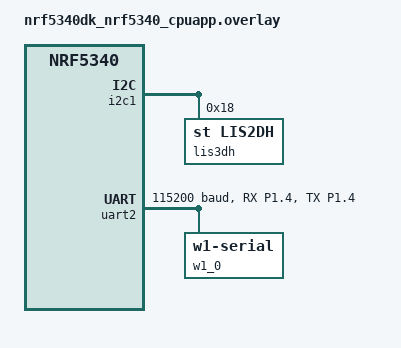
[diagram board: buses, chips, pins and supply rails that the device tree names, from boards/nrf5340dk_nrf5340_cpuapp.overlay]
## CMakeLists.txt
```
cmake_minimum_required(VERSION 3.20.0)

find_package(Zephyr REQUIRED HINTS $ENV{ZEPHYR_BASE})
project(evm_bt40_firmware)

target_sources(app PRIVATE
    src/main.c
    src/ble.c
    src/ble_pet_collar_service.c
    src/sensors.c
    src/led.c
    src/power.c
)

target_include_directories(app PRIVATE include)
```

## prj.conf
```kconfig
# BLE
CONFIG_BT=y
CONFIG_BT_PERIPHERAL=y
CONFIG_BT_DEVICE_NAME="PetCollar-X1"
CONFIG_BT_DEVICE_APPEARANCE=833
CONFIG_BT_DIS=y
CONFIG_BT_DIS_PNP=n
CONFIG_BT_DIS_MODEL="PetCollar-X1"
CONFIG_BT_DIS_MANUF="PetCollar"
CONFIG_BT_BAS=y
CONFIG_BT_GATT_CLIENT=y  # required for bt_gatt_exchange_mtu (MTU negotiation)
CONFIG_BT_MAX_CONN=1
CONFIG_BT_L2CAP_TX_MTU=247
CONFIG_BT_BUF_ACL_TX_SIZE=251
CONFIG_BT_BUF_ACL_RX_SIZE=251
CONFIG_BT_BUF_ACL_TX_COUNT=6
CONFIG_BT_USER_PHY_UPDATE=y
CONFIG_BT_DIS_FW_REV=y
CONFIG_BT_DIS_FW_REV_STR="0.1.0-dev"
CONFIG_BT_DIS_HW_REV=y
CONFIG_BT_DIS_HW_REV_STR="rev-A"

# Logging
CONFIG_LOG=y
CONFIG_LOG_DEFAULT_LEVEL=3
CONFIG_LOG_BACKEND_UART=y

# Sensors
CONFIG_I2C=y
CONFIG_SENSOR=y
CONFIG_LIS2DH=y
CONFIG_LIS2DH_TRIGGER_NONE=y
CONFIG_W1=y
CONFIG_DS18B20=y
CONFIG_CBPRINTF_FP_SUPPORT=y

# System
CONFIG_SYSTEM_WORKQUEUE_STACK_SIZE=4096
CONFIG_MAIN_STACK_SIZE=4096
```

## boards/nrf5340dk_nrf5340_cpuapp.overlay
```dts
/ {
	chosen {
		zephyr,console = &uart0;
	};
};

/* ─── I²C1 (TWIM1)：LIS3DH 加速度計 (SDA=P1.02/D14, SCL=P1.03/D15) ─── */
/* pinctrl-0/1 在 nrf5340_cpuapp_common-pinctrl.dtsi 已設好，直接 enable */
&i2c1 {
	status = "okay";

	lis3dh: lis3dh@18 {
		compatible = "st,lis2dh";
		reg = <0x18>;
		status = "okay";
	};
};

/* ─── UART2 (UARTE2)：DS18B20 1-Wire 溫度計 (Data=P1.04/D2) ─────── */
/* TWIM1 和 UARTE1 共用 peripheral instance 1，故改用 UARTE2 (instance 2) */
/* TX+RX 都接 P1.04，形成半雙工單線 1-Wire；TX 設 open-drain (H0D1)       */
&pinctrl {
	uart2_default: uart2_default {
		group1 {
			/* RX on P1.04: 讀取 DS18B20 回應 */
			psels = <NRF_PSEL(UART_RX, 1, 4)>;
			bias-pull-up;
		};
		group2 {
			/* TX on P1.04: 傳送 1-Wire 時序，open-drain（H0D1）*/
			psels = <NRF_PSEL(UART_TX, 1, 4)>;
			nordic,drive-mode = <NRF_DRIVE_H0D1>;
		};
	};
	uart2_sleep: uart2_sleep {
		group1 {
			psels = <NRF_PSEL(UART_RX, 1, 4)>,
				<NRF_PSEL(UART_TX, 1, 4)>;
			low-power-enable;
		};
	};
};

&uart2 {
	status = "okay";
	pinctrl-0 = <&uart2_default>;
	pinctrl-1 = <&uart2_sleep>;
	pinctrl-names = "default", "sleep";
	current-speed = <115200>;

	w1_0: w1-zephyr-serial-0 {
		compatible = "zephyr,w1-serial";
		#address-cells = <1>;
		#size-cells = <0>;
		status = "okay";

		ds18b20: ds18b20_0 {
			compatible = "maxim,ds18b20";
			family-code = <0x28>;
			resolution = <12>;
			status = "okay";
		};
	};
};
```

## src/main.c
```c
#include <zephyr/kernel.h>
#include <zephyr/logging/log.h>
#include "ble.h"
#include "ble_pet_collar_service.h"
#include "sensors.h"

LOG_MODULE_REGISTER(main, LOG_LEVEL_INF);

/* Stub location — Taipei (no GNSS on collar, filled by phone app) */
static const struct ble_location_t stub_location = {
	.lat_e7      = 250330000,
	.lon_e7      = 1215654000,
	.alt_m       = 10,
	.accuracy_cm = 150,
	.timestamp   = 1719187200,
	.fix_type    = 2,
	.mode        = 1,
};

/* Delayed work items */
static struct k_work_delayable health_work;
static struct k_work_delayable location_work;
static struct k_work_delayable status_work;
static struct k_work_delayable behavior_work;

/* Track runtime for status uptime field */
static uint32_t boot_tick;

static void health_work_fn(struct k_work *work)
{
	struct ble_health_t health = {0};
	/* blocks ~750 ms for DS18B20 12-bit conversion — acceptable at 30s interval */
	sensors_get_health(&health);

	int err = ble_pcs_notify_health(&health);
	if (err && err != -ENOTCONN) {
		LOG_WRN("health notify err: %d", err);
	}
	k_work_reschedule(&health_work, K_SECONDS(30));
}

static void location_work_fn(struct k_work *work)
{
	int err = ble_pcs_notify_location(&stub_location);
	if (err && err != -ENOTCONN) {
		LOG_WRN("location notify err: %d", err);
	}
	k_work_reschedule(&location_work, K_SECONDS(30));
}

static void status_work_fn(struct k_work *work)
{
	uint32_t uptime_s = (k_uptime_get_32() - boot_tick) / 1000;
	struct ble_status_t status = {
		.state       = STATE_CONNECTED,
		.battery_pct = 85,  /* stub — no fuel gauge in PoC */
		.rssi        = 0,
		.uptime      = {
			(uint8_t)(uptime_s & 0xFF),
			(uint8_t)((uptime_s >> 8) & 0xFF),
			(uint8_t)((uptime_s >> 16) & 0xFF),
		},
	};

	int err = ble_pcs_notify_status(&status);
	if (err && err != -ENOTCONN) {
		LOG_WRN("status notify err: %d", err);
	}
	k_work_reschedule(&status_work, K_SECONDS(5));
}

static void behavior_work_fn(struct k_work *work)
{
	struct ble_behavior_t behavior = {0};
	sensors_get_behavior(&behavior);

	int err = ble_pcs_notify_behavior(&behavior);
	if (err && err != -ENOTCONN) {
		LOG_WRN("behavior notify err: %d", err);
	}
	k_work_reschedule(&behavior_work, K_SECONDS(5));
}

int main(void)
{
	LOG_INF("PetCollar-X1 booting...");
	boot_tick = k_uptime_get_32();

	int err = ble_init();
	if (err) {
		LOG_ERR("ble_init failed: %d", err);
		return err;
	}

	err = ble_pcs_init();
	if (err) {
		LOG_ERR("ble_pcs_init failed: %d", err);
		return err;
	}

	/* Sensor init — non-fatal: BLE still works even if sensors fail */
	err = sensors_init();
	if (err) {
		LOG_WRN("sensors_init: %d (BLE running, sensor data unavailable)", err);
	}

	ble_start_advertising();

	k_work_init_delayable(&health_work,   health_work_fn);
	k_work_init_delayable(&location_work, location_work_fn);
	k_work_init_delayable(&status_work,   status_work_fn);
	k_work_init_delayable(&behavior_work, behavior_work_fn);

	k_work_reschedule(&health_work,   K_SECONDS(5));
	k_work_reschedule(&location_work, K_SECONDS(5));
	k_work_reschedule(&status_work,   K_SECONDS(5));
	k_work_reschedule(&behavior_work, K_SECONDS(5));

	LOG_INF("PetCollar-X1 ready");
	return 0;
}
```

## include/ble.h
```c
#pragma once

#include <stdbool.h>

int  ble_init(void);
void ble_start_advertising(void);
bool ble_is_connected(void);
```

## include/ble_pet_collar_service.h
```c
#pragma once

#include <zephyr/bluetooth/bluetooth.h>
#include <zephyr/bluetooth/gatt.h>
#include <stdint.h>

/* Pet Collar Service — Custom 128-bit UUIDs
 * Base: A1B2C3D4-xxxx-1000-8000-00805F9B34FB
 * xxxx varies per characteristic (see spec §4.6)
 */
#define PCS_UUID_ENCODE(xxxx) \
    BT_UUID_128_ENCODE(0xA1B2C3D4, (xxxx), 0x1000, 0x8000, 0x00805F9B34FB)

#define PCS_UUID_SERVICE_VAL   PCS_UUID_ENCODE(0x0000)
#define PCS_UUID_LOCATION_VAL  PCS_UUID_ENCODE(0x0101)
#define PCS_UUID_HEALTH_VAL    PCS_UUID_ENCODE(0x0102)
#define PCS_UUID_BEHAVIOR_VAL  PCS_UUID_ENCODE(0x0103)
#define PCS_UUID_COMMAND_VAL   PCS_UUID_ENCODE(0x0104)
#define PCS_UUID_STATUS_VAL    PCS_UUID_ENCODE(0x0105)
#define PCS_UUID_CONFIG_VAL    PCS_UUID_ENCODE(0x0106)

#define PCS_UUID_SERVICE   BT_UUID_DECLARE_128(PCS_UUID_SERVICE_VAL)
#define PCS_UUID_LOCATION  BT_UUID_DECLARE_128(PCS_UUID_LOCATION_VAL)
#define PCS_UUID_HEALTH    BT_UUID_DECLARE_128(PCS_UUID_HEALTH_VAL)
#define PCS_UUID_BEHAVIOR  BT_UUID_DECLARE_128(PCS_UUID_BEHAVIOR_VAL)
#define PCS_UUID_COMMAND   BT_UUID_DECLARE_128(PCS_UUID_COMMAND_VAL)
#define PCS_UUID_STATUS    BT_UUID_DECLARE_128(PCS_UUID_STATUS_VAL)
#define PCS_UUID_CONFIG    BT_UUID_DECLARE_128(PCS_UUID_CONFIG_VAL)

/* Behavior enum — matches spec §4.5 */
enum behavior_type {
    BEHAVIOR_SLEEPING   = 0,
    BEHAVIOR_RESTING    = 1,
    BEHAVIOR_WALKING    = 2,
    BEHAVIOR_RUNNING    = 3,
    BEHAVIOR_PLAYING    = 4,
    BEHAVIOR_SCRATCHING = 5,
    BEHAVIOR_UNKNOWN    = 6,
};

/* Command enum — matches spec §4.6 */
enum pcs_command {
    CMD_FIND_MODE_ON  = 0x01,
    CMD_FIND_MODE_OFF = 0x02,
    CMD_SYNC_TIME     = 0x03,
    CMD_SET_CONFIG    = 0x04,
    CMD_REBOOT        = 0x05,  /* stub: log only, no reboot */
    CMD_DFU_MODE      = 0x06,  /* stub: log only, no DFU */
};

/* 18 bytes — Location characteristic payload */
struct ble_location_t {
    int32_t  lat_e7;        /* latitude  × 10^7 */
    int32_t  lon_e7;        /* longitude × 10^7 */
    int16_t  alt_m;
    uint16_t accuracy_cm;
    uint32_t timestamp;
    uint8_t  fix_type;      /* 0=invalid 1=2D 2=3D 3=GNSS+assisted */
    uint8_t  mode;          /* 0=power-save 1=normal 2=high-freq */
} __packed;

/* 8 bytes — Health characteristic payload */
struct ble_health_t {
    uint16_t heart_rate;    /* BPM × 10 */
    uint8_t  spo2;          /* % 0-100 */
    int16_t  temperature;   /* 0.1°C  e.g. 385 = 38.5°C */
    uint8_t  signal_quality;
    uint16_t flags;         /* bit0=HR valid bit1=SpO2 valid bit2=Temp valid */
} __packed;

/* 6 bytes — Behavior characteristic payload */
struct ble_behavior_t {
    uint8_t  behavior;      /* enum behavior_type */
    uint8_t  confidence;    /* 0-100 */
    uint32_t steps;
} __packed;

/* 4 bytes — Command characteristic payload (Write Without Response) */
struct ble_command_t {
    uint8_t  cmd;           /* enum pcs_command */
    uint8_t  param1;
    uint16_t param2;
} __packed;

/* Device state enum — for ble_status_t.state */
enum pcs_device_state {
    STATE_IDLE        = 0,
    STATE_ADVERTISING = 1,
    STATE_CONNECTED   = 2,
    STATE_LOCATING    = 3,
};

/* 6 bytes — Device Status characteristic payload */
struct ble_status_t {
    uint8_t  state;
    uint8_t  battery_pct;
    int8_t   rssi;          /* dBm, typical range -100 to 0 */
    uint8_t  uptime[3];     /* seconds, little-endian 24-bit */
} __packed;

/* 20 bytes — Configuration characteristic payload */
struct ble_config_t {
    uint16_t gnss_interval_s;
    uint16_t health_interval_s;
    uint16_t alert_hr_max;
    uint16_t alert_temp_max;
    uint32_t geofence_radius_m;
    uint8_t  flags[8];
} __packed;

/* API */
int ble_pcs_init(void);
int ble_pcs_notify_health(const struct ble_health_t *data);
int ble_pcs_notify_location(const struct ble_location_t *data);
int ble_pcs_notify_behavior(const struct ble_behavior_t *data);
int ble_pcs_notify_status(const struct ble_status_t *data);
```

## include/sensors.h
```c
#pragma once

#include "ble_pet_collar_service.h"

/**
 * Initialize LIS3DH (I²C) and DS18B20 (1-Wire/UART) sensors.
 * Returns 0 if both ready, negative errno otherwise.
 * Caller should log a warning but continue — partial sensor data is OK.
 */
int sensors_init(void);

/**
 * Read DS18B20 temperature and fill health payload.
 * Sets flags bit2 (temp valid) on success; clears HR/SpO2 bits (no MAX30102).
 * Blocks ~750 ms for DS18B20 12-bit conversion.
 */
int sensors_get_health(struct ble_health_t *out);

/**
 * Read LIS3DH acceleration, classify behavior, and update step count.
 * Non-blocking (fast I²C read).
 */
int sensors_get_behavior(struct ble_behavior_t *out);
```

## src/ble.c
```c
#include <zephyr/bluetooth/bluetooth.h>
#include <zephyr/bluetooth/conn.h>
#include <zephyr/bluetooth/gatt.h>
#include <zephyr/bluetooth/hci.h>
#include <zephyr/logging/log.h>
#include "ble.h"
#include "ble_pet_collar_service.h"

LOG_MODULE_REGISTER(ble, LOG_LEVEL_INF);

static struct bt_conn *current_conn;

/* Advertising packet (31 B max): Flags (3 B) + 128-bit service UUID (18 B).
 * The service UUID lets iOS filter/scan by service (required for background
 * scanning) and gives both platforms a stable identifier independent of name.
 */
static const struct bt_data ad[] = {
    BT_DATA_BYTES(BT_DATA_FLAGS, (BT_LE_AD_GENERAL | BT_LE_AD_NO_BREDR)),
    BT_DATA_BYTES(BT_DATA_UUID128_ALL, PCS_UUID_SERVICE_VAL),
};

/* Scan response: complete name. Moved here because the 128-bit UUID + flags
 * + name together exceed the 31-byte advertising payload limit.
 */
static const struct bt_data sd[] = {
    BT_DATA(BT_DATA_NAME_COMPLETE, CONFIG_BT_DEVICE_NAME,
            sizeof(CONFIG_BT_DEVICE_NAME) - 1),
};

static void mtu_exchange_cb(struct bt_conn *conn, uint8_t err,
                            struct bt_gatt_exchange_params *params)
{
    if (err) {
        LOG_WRN("MTU exchange failed: %d", err);
    } else {
        LOG_INF("MTU exchanged: %u", bt_gatt_get_mtu(conn));
    }
}

static struct bt_gatt_exchange_params mtu_params = {
    .func = mtu_exchange_cb,
};

static void phy_update_cb(struct bt_conn *conn,
                          struct bt_conn_le_phy_info *param)
{
    LOG_INF("PHY updated: TX=%u RX=%u", param->tx_phy, param->rx_phy);
}

static void connected(struct bt_conn *conn, uint8_t err)
{
    if (err) {
        LOG_ERR("Connection failed: %u", err);
        return;
    }

    current_conn = bt_conn_ref(conn);
    LOG_INF("Connected");

    /* Request 2M PHY */
    static const struct bt_conn_le_phy_param phy_param = {
        .options = BT_CONN_LE_PHY_OPT_NONE,
        .pref_tx_phy = BT_GAP_LE_PHY_2M,
        .pref_rx_phy = BT_GAP_LE_PHY_2M,
    };
    int ret = bt_conn_le_phy_update(conn, &phy_param);
    if (ret && ret != -EALREADY) {
        LOG_WRN("PHY update request failed: %d", ret);
    }

    /* Request MTU 247 */
    ret = bt_gatt_exchange_mtu(conn, &mtu_params);
    if (ret) {
        LOG_ERR("MTU exchange request failed: %d", ret);
    }
}

static void disconnected(struct bt_conn *conn, uint8_t reason)
{
    LOG_INF("Disconnected, reason: %u", reason);

    if (current_conn) {
        bt_conn_unref(current_conn);
        current_conn = NULL;
    }

    ble_start_advertising();
}

BT_CONN_CB_DEFINE(conn_callbacks) = {
    .connected    = connected,
    .disconnected = disconnected,
    .le_phy_updated = phy_update_cb,
};

int ble_init(void)
{
    int err = bt_enable(NULL);
    if (err) {
        LOG_ERR("bt_enable failed: %d", err);
        return err;
    }
    LOG_INF("BLE enabled");
    return 0;
}

void ble_start_advertising(void)
{
    int err = bt_le_adv_start(BT_LE_ADV_CONN, ad, ARRAY_SIZE(ad),
                              sd, ARRAY_SIZE(sd));
    if (err && err != -EALREADY) {
        LOG_ERR("Advertising start failed: %d", err);
    } else {
        LOG_INF("Advertising started as \"%s\"", CONFIG_BT_DEVICE_NAME);
    }
}

bool ble_is_connected(void)
{
    return current_conn != NULL;
}
```

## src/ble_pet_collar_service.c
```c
#include <string.h>
#include <zephyr/bluetooth/bluetooth.h>
#include <zephyr/bluetooth/conn.h>
#include <zephyr/bluetooth/gatt.h>
#include <zephyr/kernel.h>
#include <zephyr/logging/log.h>
#include "ble_pet_collar_service.h"

LOG_MODULE_REGISTER(pcs, LOG_LEVEL_INF);

/* CCCD tracking — one flag per notifiable characteristic */
static volatile bool notify_location_enabled;
static volatile bool notify_health_enabled;
static volatile bool notify_behavior_enabled;
static volatile bool notify_status_enabled;

/* Mutex protecting g_config for cross-thread access */
K_MUTEX_DEFINE(g_config_mutex);

/* RAM-backed configuration (persists for connection session) */
static struct ble_config_t g_config = {
	.gnss_interval_s   = 1800,
	.health_interval_s = 3600,
	.alert_hr_max      = 200,
	.alert_temp_max    = 410,
	.geofence_radius_m = 500,
};

/* ---- Connection callback — reset CCCD shadow flags on new connection ---- */

static void pcs_conn_connected(struct bt_conn *conn, uint8_t err)
{
	if (err) {
		return;
	}
	/* Reset shadow CCCD flags — client must re-subscribe each connection */
	notify_location_enabled  = false;
	notify_health_enabled    = false;
	notify_behavior_enabled  = false;
	notify_status_enabled    = false;
}

BT_CONN_CB_DEFINE(pcs_conn_callbacks) = {
	.connected = pcs_conn_connected,
};

/* ---- CCCD write callbacks ---- */

static void location_ccc_changed(const struct bt_gatt_attr *attr, uint16_t value)
{
	notify_location_enabled = (value == BT_GATT_CCC_NOTIFY);
	LOG_INF("Location notify: %s", notify_location_enabled ? "on" : "off");
}

static void health_ccc_changed(const struct bt_gatt_attr *attr, uint16_t value)
{
	notify_health_enabled = (value == BT_GATT_CCC_NOTIFY);
	LOG_INF("Health notify: %s", notify_health_enabled ? "on" : "off");
}

static void behavior_ccc_changed(const struct bt_gatt_attr *attr, uint16_t value)
{
	notify_behavior_enabled = (value == BT_GATT_CCC_NOTIFY);
	LOG_INF("Behavior notify: %s", notify_behavior_enabled ? "on" : "off");
}

static void status_ccc_changed(const struct bt_gatt_attr *attr, uint16_t value)
{
	notify_status_enabled = (value == BT_GATT_CCC_NOTIFY);
	LOG_INF("Status notify: %s", notify_status_enabled ? "on" : "off");
}

/* ---- Command write handler ---- */

static ssize_t cmd_write_cb(struct bt_conn *conn,
			    const struct bt_gatt_attr *attr,
			    const void *buf, uint16_t len,
			    uint16_t offset, uint8_t flags)
{
	if (offset != 0) {
		return BT_GATT_ERR(BT_ATT_ERR_INVALID_OFFSET);
	}
	if (len != sizeof(struct ble_command_t)) {
		LOG_WRN("CMD: unexpected length %u", len);
		return BT_GATT_ERR(BT_ATT_ERR_INVALID_ATTRIBUTE_LEN);
	}

	const struct ble_command_t *cmd = buf;
	LOG_INF("CMD: 0x%02x param1=0x%02x param2=0x%04x",
		cmd->cmd, cmd->param1, cmd->param2);

	switch (cmd->cmd) {
	case CMD_FIND_MODE_ON:
		LOG_INF("CMD_FIND_MODE_ON (stub)");
		break;
	case CMD_FIND_MODE_OFF:
		LOG_INF("CMD_FIND_MODE_OFF (stub)");
		break;
	case CMD_SYNC_TIME:
		/* TODO: param2 is uint16_t (max 65535s ~18h) — real sync needs uint32 timestamp */
		LOG_INF("CMD_SYNC_TIME ts=%u (stub)", cmd->param2);
		break;
	case CMD_SET_CONFIG:
		LOG_INF("CMD_SET_CONFIG (stub)");
		break;
	case CMD_REBOOT:
		LOG_WRN("CMD_REBOOT requested — stub, NOT rebooting");
		break;
	case CMD_DFU_MODE:
		LOG_WRN("CMD_DFU_MODE requested — stub, NOT entering DFU");
		break;
	default:
		LOG_WRN("Unknown CMD: 0x%02x", cmd->cmd);
		break;
	}

	return len;
}

/* ---- Config read/write handlers ---- */

static ssize_t config_read_cb(struct bt_conn *conn,
			      const struct bt_gatt_attr *attr,
			      void *buf, uint16_t len, uint16_t offset)
{
	k_mutex_lock(&g_config_mutex, K_FOREVER);
	ssize_t ret = bt_gatt_attr_read(conn, attr, buf, len, offset,
					&g_config, sizeof(g_config));
	k_mutex_unlock(&g_config_mutex);
	return ret;
}

static ssize_t config_write_cb(struct bt_conn *conn,
				const struct bt_gatt_attr *attr,
				const void *buf, uint16_t len,
				uint16_t offset, uint8_t flags)
{
	if (offset + len > sizeof(g_config)) {
		return BT_GATT_ERR(BT_ATT_ERR_INVALID_OFFSET);
	}
	k_mutex_lock(&g_config_mutex, K_FOREVER);
	memcpy((uint8_t *)&g_config + offset, buf, len);
	k_mutex_unlock(&g_config_mutex);
	LOG_INF("Config updated");
	return len;
}

/* ---- Static GATT table ---- */

BT_GATT_SERVICE_DEFINE(pet_collar_svc,
	BT_GATT_PRIMARY_SERVICE(PCS_UUID_SERVICE),

	/* Location — Notify */
	BT_GATT_CHARACTERISTIC(PCS_UUID_LOCATION,
		BT_GATT_CHRC_NOTIFY,
		BT_GATT_PERM_NONE,
		NULL, NULL, NULL),
	BT_GATT_CCC(location_ccc_changed,
		BT_GATT_PERM_READ | BT_GATT_PERM_WRITE),

	/* Health — Notify */
	BT_GATT_CHARACTERISTIC(PCS_UUID_HEALTH,
		BT_GATT_CHRC_NOTIFY,
		BT_GATT_PERM_NONE,
		NULL, NULL, NULL),
	BT_GATT_CCC(health_ccc_changed,
		BT_GATT_PERM_READ | BT_GATT_PERM_WRITE),

	/* Behavior — Notify */
	BT_GATT_CHARACTERISTIC(PCS_UUID_BEHAVIOR,
		BT_GATT_CHRC_NOTIFY,
		BT_GATT_PERM_NONE,
		NULL, NULL, NULL),
	BT_GATT_CCC(behavior_ccc_changed,
		BT_GATT_PERM_READ | BT_GATT_PERM_WRITE),

	/* Command — Write Without Response */
	BT_GATT_CHARACTERISTIC(PCS_UUID_COMMAND,
		BT_GATT_CHRC_WRITE_WITHOUT_RESP,
		BT_GATT_PERM_WRITE,
		NULL, cmd_write_cb, NULL),

	/* Device Status — Notify */
	BT_GATT_CHARACTERISTIC(PCS_UUID_STATUS,
		BT_GATT_CHRC_NOTIFY,
		BT_GATT_PERM_NONE,
		NULL, NULL, NULL),
	BT_GATT_CCC(status_ccc_changed,
		BT_GATT_PERM_READ | BT_GATT_PERM_WRITE),

	/* Configuration — Read + Write */
	BT_GATT_CHARACTERISTIC(PCS_UUID_CONFIG,
		BT_GATT_CHRC_READ | BT_GATT_CHRC_WRITE,
		BT_GATT_PERM_READ | BT_GATT_PERM_WRITE,
		config_read_cb, config_write_cb, &g_config),
);

/* ---- Cached attribute pointers (populated at init) ---- */

static const struct bt_gatt_attr *location_attr;
static const struct bt_gatt_attr *health_attr;
static const struct bt_gatt_attr *behavior_attr;
static const struct bt_gatt_attr *status_attr;

/* ---- Notify helpers ---- */

int ble_pcs_notify_health(const struct ble_health_t *data)
{
	if (!notify_health_enabled) {
		return -ENOTCONN;
	}
	if (!health_attr) {
		return -ENOENT;
	}
	return bt_gatt_notify(NULL, health_attr, data, sizeof(*data));
}

int ble_pcs_notify_location(const struct ble_location_t *data)
{
	if (!notify_location_enabled) {
		return -ENOTCONN;
	}
	if (!location_attr) {
		return -ENOENT;
	}
	return bt_gatt_notify(NULL, location_attr, data, sizeof(*data));
}

int ble_pcs_notify_behavior(const struct ble_behavior_t *data)
{
	if (!notify_behavior_enabled) {
		return -ENOTCONN;
	}
	if (!behavior_attr) {
		return -ENOENT;
	}
	return bt_gatt_notify(NULL, behavior_attr, data, sizeof(*data));
}

int ble_pcs_notify_status(const struct ble_status_t *data)
{
	if (!notify_status_enabled) {
		return -ENOTCONN;
	}
	if (!status_attr) {
		return -ENOENT;
	}
	return bt_gatt_notify(NULL, status_attr, data, sizeof(*data));
}

int ble_pcs_init(void)
{
	/* Cache value attribute pointers by UUID for use in notify helpers.
	 * bt_gatt_find_by_uuid() searches for value attrs (not chrc decls),
	 * so it returns the correct handle for bt_gatt_notify().
	 */
	location_attr = bt_gatt_find_by_uuid(pet_collar_svc.attrs,
					     pet_collar_svc.attr_count,
					     PCS_UUID_LOCATION);
	health_attr   = bt_gatt_find_by_uuid(pet_collar_svc.attrs,
					     pet_collar_svc.attr_count,
					     PCS_UUID_HEALTH);
	behavior_attr = bt_gatt_find_by_uuid(pet_collar_svc.attrs,
					     pet_collar_svc.attr_count,
					     PCS_UUID_BEHAVIOR);
	status_attr   = bt_gatt_find_by_uuid(pet_collar_svc.attrs,
					     pet_collar_svc.attr_count,
					     PCS_UUID_STATUS);

	if (!location_attr || !health_attr || !behavior_attr || !status_attr) {
		LOG_ERR("Failed to find one or more GATT characteristic attrs");
		return -ENOENT;
	}

	LOG_INF("Pet Collar Service registered");
	return 0;
}
```

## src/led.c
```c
#include <zephyr/kernel.h>
#include <zephyr/logging/log.h>
LOG_MODULE_REGISTER(led, LOG_LEVEL_INF);
```

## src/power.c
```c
#include <zephyr/kernel.h>
#include <zephyr/logging/log.h>
LOG_MODULE_REGISTER(power, LOG_LEVEL_INF);
```

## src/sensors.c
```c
#include <zephyr/kernel.h>
#include <zephyr/drivers/sensor.h>
#include <zephyr/logging/log.h>
#include <math.h>
#include "sensors.h"

LOG_MODULE_REGISTER(sensors, LOG_LEVEL_INF);

#define LIS3DH_NODE  DT_NODELABEL(lis3dh)
#define DS18B20_NODE DT_NODELABEL(ds18b20)

static const struct device *lis3dh_dev  = DEVICE_DT_GET(LIS3DH_NODE);
static const struct device *ds18b20_dev = DEVICE_DT_GET(DS18B20_NODE);

/* Step counter state — persists across calls */
static uint32_t step_count;
static bool     step_in_peak;

/* Thresholds in m/s² (gravity ≈ 9.81 m/s²) */
#define STEP_PEAK_THRESH  12.0f   /* rising edge — about 1.22 g */
#define STEP_VALLEY_THRESH 10.0f  /* falling edge — step complete */

int sensors_init(void)
{
	int err = 0;

	if (!device_is_ready(lis3dh_dev)) {
		LOG_ERR("LIS3DH not ready (check I²C wiring on D14/D15)");
		err = -ENODEV;
	} else {
		LOG_INF("LIS3DH ready");
	}

	if (!device_is_ready(ds18b20_dev)) {
		LOG_ERR("DS18B20 not ready (check 1-Wire wiring on D2, 4.7k pull-up)");
		err = err ? err : -ENODEV;
	} else {
		LOG_INF("DS18B20 ready");
	}

	return err;
}

int sensors_get_health(struct ble_health_t *out)
{
	/* Clear all fields; no HR/SpO2 sensor in this PoC */
	out->heart_rate     = 0;
	out->spo2           = 0;
	out->signal_quality = 0;
	out->flags          = 0;  /* bit0=HR, bit1=SpO2, bit2=Temp — all clear */

	if (!device_is_ready(ds18b20_dev)) {
		return -ENODEV;
	}

	/* DS18B20: fetch blocks ~750 ms for 12-bit resolution */
	int ret = sensor_sample_fetch(ds18b20_dev);
	if (ret) {
		LOG_WRN("DS18B20 fetch err: %d", ret);
		return ret;
	}

	struct sensor_value val;
	ret = sensor_channel_get(ds18b20_dev, SENSOR_CHAN_AMBIENT_TEMP, &val);
	if (ret) {
		LOG_WRN("DS18B20 channel_get err: %d", ret);
		return ret;
	}

	/* sensor_value: val1 = integer °C, val2 = micro-fraction */
	int32_t temp_x10 = val.val1 * 10 + val.val2 / 100000;
	out->temperature = (int16_t)temp_x10;
	out->flags |= 0x04;  /* bit2: temperature valid */

	LOG_INF("Temp: %d.%d C", val.val1, val.val2 / 100000);
	return 0;
}

/* Classify activity from deviation from 1g (9.81 m/s²) */
static uint8_t classify_behavior(float mag)
{
	float dev = fabsf(mag - 9.81f);

	if (dev < 0.15f) return BEHAVIOR_SLEEPING;
	if (dev < 0.50f) return BEHAVIOR_RESTING;
	if (dev < 2.00f) return BEHAVIOR_WALKING;
	if (dev < 4.50f) return BEHAVIOR_RUNNING;
	return BEHAVIOR_PLAYING;
}

int sensors_get_behavior(struct ble_behavior_t *out)
{
	out->behavior   = BEHAVIOR_UNKNOWN;
	out->confidence = 0;
	out->steps      = step_count;

	if (!device_is_ready(lis3dh_dev)) {
		return -ENODEV;
	}

	int ret = sensor_sample_fetch(lis3dh_dev);
	if (ret) {
		LOG_WRN("LIS3DH fetch err: %d", ret);
		return ret;
	}

	struct sensor_value ax, ay, az;
	sensor_channel_get(lis3dh_dev, SENSOR_CHAN_ACCEL_X, &ax);
	sensor_channel_get(lis3dh_dev, SENSOR_CHAN_ACCEL_Y, &ay);
	sensor_channel_get(lis3dh_dev, SENSOR_CHAN_ACCEL_Z, &az);

	float x = (float)ax.val1 + (float)ax.val2 / 1000000.0f;
	float y = (float)ay.val1 + (float)ay.val2 / 1000000.0f;
	float z = (float)az.val1 + (float)az.val2 / 1000000.0f;
	float mag = sqrtf(x*x + y*y + z*z);

	/* Simple peak-valley step detection */
	if (!step_in_peak && mag > STEP_PEAK_THRESH) {
		step_in_peak = true;
		step_count++;
	} else if (step_in_peak && mag < STEP_VALLEY_THRESH) {
		step_in_peak = false;
	}

	out->behavior   = classify_behavior(mag);
	out->confidence = 75;
	out->steps      = step_count;

	LOG_DBG("accel mag: %d.%02d m/s2  steps: %u  behavior: %u",
		(int)mag, (int)(fabsf(mag - (int)mag) * 100),
		step_count, out->behavior);

	return 0;
}
```
